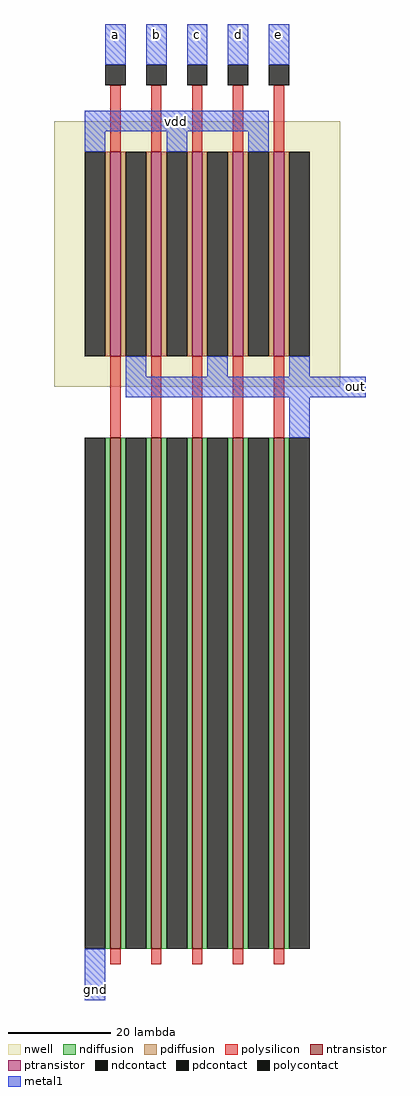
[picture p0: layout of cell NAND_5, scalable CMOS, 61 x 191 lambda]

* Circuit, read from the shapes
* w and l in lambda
.subckt NAND_5 a b c d e gnd out vdd
M1 n1 a gnd VSUBS nfet w=100 l=2
M2 n2 b n1 VSUBS nfet w=100 l=2
M3 n3 c n2 VSUBS nfet w=100 l=2
M4 n4 d n3 VSUBS nfet w=100 l=2
M5 out e n4 VSUBS nfet w=100 l=2
M6 out a vdd n5 pfet w=40 l=2
M7 vdd b out n5 pfet w=40 l=2
M8 out c vdd n5 pfet w=40 l=2
M9 vdd d out n5 pfet w=40 l=2
M10 out e vdd n5 pfet w=40 l=2
.ends

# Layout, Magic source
magic
tech scmos
<< nwell >>
rect 0 100 56 152
<< ntransistor >>
rect 11 -10 13 90
rect 19 -10 21 90
rect 27 -10 29 90
rect 35 -10 37 90
rect 43 -10 45 90
<< ptransistor >>
rect 11 106 13 146
rect 19 106 21 146
rect 27 106 29 146
rect 35 106 37 146
rect 43 106 45 146
<< ndiffusion >>
rect 10 -10 11 90
rect 13 -10 14 90
rect 18 -10 19 90
rect 21 -10 22 90
rect 26 -10 27 90
rect 29 -10 30 90
rect 34 -10 35 90
rect 37 -10 38 90
rect 42 -10 43 90
rect 45 -10 46 90
<< pdiffusion >>
rect 10 106 11 146
rect 13 106 14 146
rect 18 106 19 146
rect 21 106 22 146
rect 26 106 27 146
rect 29 106 30 146
rect 34 106 35 146
rect 37 106 38 146
rect 42 106 43 146
rect 45 106 46 146
<< ndcontact >>
rect 6 -10 10 90
rect 14 -10 18 90
rect 22 -10 26 90
rect 30 -10 34 90
rect 38 -10 42 90
rect 46 -10 50 90
<< pdcontact >>
rect 6 106 10 146
rect 14 106 18 146
rect 22 106 26 146
rect 30 106 34 146
rect 38 106 42 146
rect 46 106 50 146
<< polysilicon >>
rect 11 146 13 159
rect 19 146 21 159
rect 27 146 29 159
rect 35 146 37 159
rect 43 146 45 159
rect 11 90 13 106
rect 19 90 21 106
rect 27 90 29 106
rect 35 90 37 106
rect 43 90 45 106
rect 11 -13 13 -10
rect 19 -13 21 -10
rect 27 -13 29 -10
rect 35 -13 37 -10
rect 43 -13 45 -10
<< polycontact >>
rect 10 159 14 163
rect 18 159 22 163
rect 26 159 30 163
rect 34 159 38 163
rect 42 159 46 163
<< metal1 >>
rect 10 163 14 171
rect 18 163 22 171
rect 26 163 30 171
rect 34 163 38 171
rect 42 163 46 171
rect 6 150 42 154
rect 6 146 10 150
rect 22 146 26 150
rect 38 146 42 150
rect 14 102 18 106
rect 30 102 34 106
rect 46 102 50 106
rect 14 98 61 102
rect 46 90 50 98
rect 6 -20 10 -10
<< labels >>
rlabel metal1 10 167 14 171 5 a
rlabel metal1 18 167 22 171 5 b
rlabel metal1 26 167 30 171 5 c
rlabel metal1 34 167 38 171 5 d
rlabel metal1 42 167 46 171 5 e
rlabel metal1 6 150 42 154 1 vdd
rlabel metal1 6 -20 10 -16 1 gnd
rlabel metal1 57 98 61 102 7 out
<< end >>
